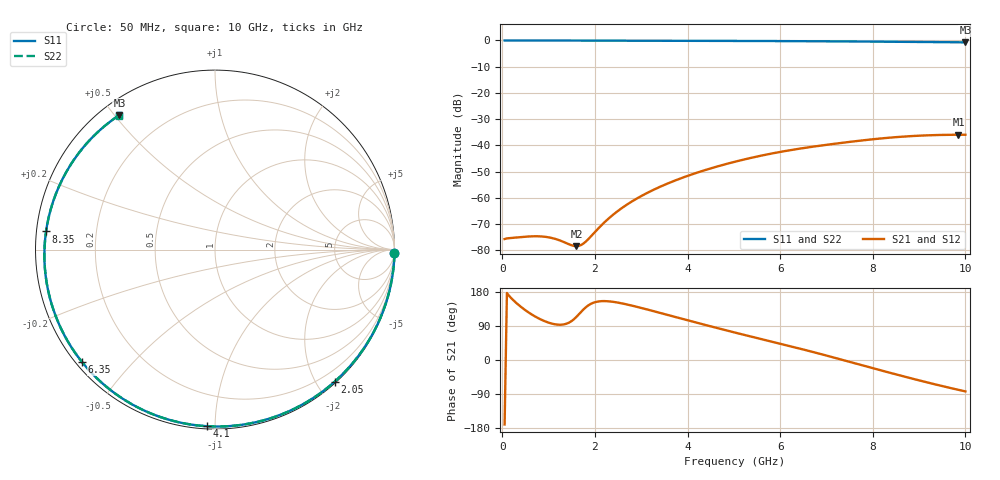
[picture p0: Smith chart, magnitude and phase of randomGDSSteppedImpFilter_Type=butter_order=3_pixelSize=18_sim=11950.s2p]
! freq	dB(S11)	phase(S11)	dB(S12)	phase(S12)
!  dB(S21)	phase(S21)	dB(S22)	phase(S22)
!S-par simulation data
#  GHz  S  DB  R 50
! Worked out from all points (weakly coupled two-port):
!   200 points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, 50 MHz to 10 GHz, reference 50 ohm
!   highest |S21| = -35.94 dB at 9.85 GHz (marker M1); lowest = -78.4 dB at 1.6 GHz (marker M2)
!   lowest |S11| = -0.7 dB at 10 GHz (marker M3), VSWR 23.87, Z = 2.65 + j25.8 ohm
!   |S11| at or under -10 dB: nowhere
!   |S22| runs from -0.7 to 0.0 dB; largest |S21 - S12| = 0
!   S11 on the Smith chart (normalised r, x): 50 MHz: 0, -96; 2.05 GHz: 0.02, -2.26; 4.1 GHz: 0.01, -0.96; 6.35 GHz: 0.02, -0.37; 8.35 GHz: 0.03, +0.05; 10 GHz: 0.05, +0.52
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0.05  -0.00 -1.2  -75.70 -170.1  -75.70 -170.1  -0.00 -1.2
0.55  -0.01 -13.1  -74.74 126.9  -74.74 126.9  -0.01 -13.1
0.9  -0.02 -21.3  -74.79 103.2  -74.79 103.2  -0.02 -21.3
1.15  -0.03 -27.1  -75.67 94.0  -75.67 94.0  -0.03 -27.1
1.6  -0.05 -37.5  -78.41 113.7  -78.41 113.7  -0.05 -37.5
1.75  -0.05 -40.9  -77.44 133.1  -77.44 133.1  -0.05 -40.9
2.05  -0.06 -47.8  -72.09 153.9  -72.09 153.9  -0.06 -47.7
2.35  -0.07 -54.5  -67.05 154.2  -67.05 154.2  -0.07 -54.5
2.65  -0.08 -61.2  -63.06 147.7  -63.06 147.7  -0.08 -61.2
3  -0.09 -68.9  -59.31 137.4  -59.31 137.4  -0.09 -68.9
3.4  -0.10 -77.6  -55.83 124.5  -55.83 124.5  -0.10 -77.6
4.1  -0.13 -92.6  -51.01 101.7  -51.01 101.7  -0.13 -92.5
5.05  -0.18 -112.5  -46.11 71.6  -46.11 71.6  -0.18 -112.5
5.7  -0.22 -126.1  -43.51 51.9  -43.51 51.9  -0.21 -126.1
6.35  -0.26 -139.9  -41.44 32.3  -41.44 32.3  -0.26 -139.8
6.7  -0.29 -147.4  -40.51 21.4  -40.51 21.4  -0.29 -147.3
7.55  -0.38 -166.6  -38.56 -6.5  -38.56 -6.5  -0.38 -166.5
8.35  -0.48 173.9  -37.07 -33.1  -37.07 -33.1  -0.47 174.1
9.1  -0.58 153.5  -36.22 -56.8  -36.22 -56.8  -0.58 153.7
9.5  -0.64 141.6  -36.00 -68.8  -36.00 -68.8  -0.64 141.8
9.85  -0.70 130.4  -35.94 -78.8  -35.94 -78.8  -0.70 130.7
10  -0.73 125.4  -35.95 -82.9  -35.95 -82.9  -0.73 125.7
